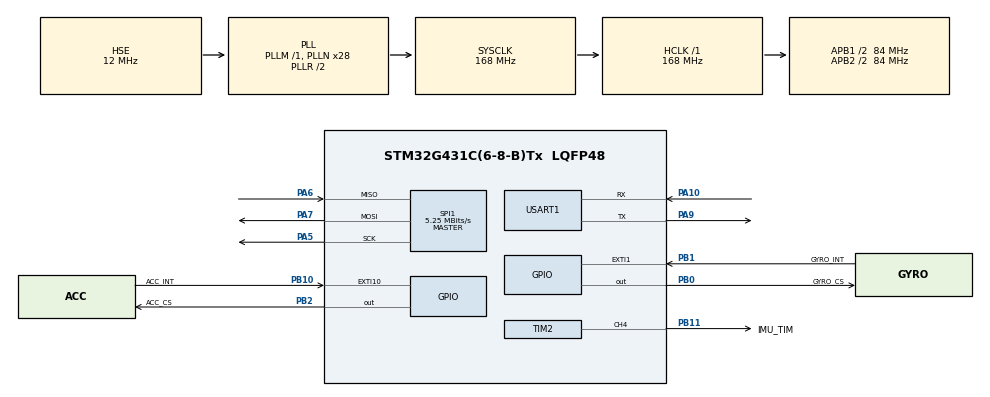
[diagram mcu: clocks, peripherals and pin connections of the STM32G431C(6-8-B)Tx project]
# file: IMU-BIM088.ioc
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Mcu.Family=STM32G4
Mcu.Name=STM32G431C(6-8-B)Tx
Mcu.Package=LQFP48
NVIC.PriorityGroup=NVIC_PRIORITYGROUP_4
NVIC.TIM6_DAC_IRQn=true\:0\:0\:false\:false\:true\:true\:true\:true
PA10.Mode=Asynchronous
PA10.Signal=USART1_RX
PA13.Mode=Serial_Wire
PA13.Signal=SYS_JTMS-SWDIO
PA14.Mode=Serial_Wire
PA14.Signal=SYS_JTCK-SWCLK
PA5.Mode=Full_Duplex_Master
PA5.Signal=SPI1_SCK
PA6.Mode=Full_Duplex_Master
PA6.Signal=SPI1_MISO
PA7.Mode=Full_Duplex_Master
PA7.Signal=SPI1_MOSI
PA9.Mode=Asynchronous
PA9.Signal=USART1_TX
PB0.GPIO_Label=GYRO_CS
PB0.GPIO_Speed=GPIO_SPEED_FREQ_HIGH
PB0.Signal=GPIO_Output
PB1.GPIO_Label=GYRO_INT
PB1.Signal=GPXTI1
PB10.GPIO_Label=ACC_INT
PB10.Signal=GPXTI10
PB11.GPIO_Label=IMU_TIM
PB11.Signal=S_TIM2_CH4
PB15.Signal=SPI2_MOSI
PB2.GPIO_Label=ACC_CS
PB2.GPIO_PuPd=GPIO_PULLUP
PB2.GPIO_Speed=GPIO_SPEED_FREQ_HIGH
PB2.Signal=GPIO_Output
PF0-OSC_IN.Mode=HSE-External-Oscillator
PF0-OSC_IN.Signal=RCC_OSC_IN
PF1-OSC_OUT.Mode=HSE-External-Oscillator
PF1-OSC_OUT.Signal=RCC_OSC_OUT
ProjectManager.HeapSize=0x200
ProjectManager.StackSize=0x400
ProjectManager.TargetToolchain=MDK-ARM V5
RCC.ADC12Freq_Value=168000000
RCC.AHBFreq_Value=168000000
RCC.APB1CLKDivider=RCC_HCLK_DIV2
RCC.APB1Freq_Value=84000000
RCC.APB1TimFreq_Value=168000000
RCC.APB2CLKDivider=RCC_HCLK_DIV2
RCC.APB2Freq_Value=84000000
RCC.APB2TimFreq_Value=168000000
RCC.CortexFreq_Value=168000000
RCC.EXTERNAL_CLOCK_VALUE=12288000
RCC.HCLKFreq_Value=168000000
RCC.HSE_VALUE=12000000
RCC.HSI48_VALUE=48000000
RCC.HSI_VALUE=16000000
RCC.LSE_VALUE=32768
RCC.PLLN=28
RCC.PLLSourceVirtual=RCC_PLLSOURCE_HSE
RCC.SYSCLKFreq_VALUE=168000000
RCC.SYSCLKSource=RCC_SYSCLKSOURCE_PLLCLK
RCC.USBFreq_Value=168000000
RCC.VCOOutputFreq_Value=336000000
SH.S_TIM2_CH4.0=TIM2_CH4,PWM Generation4 CH4
SPI1.BaudRatePrescaler=SPI_BAUDRATEPRESCALER_16
SPI1.CLKPhase=SPI_PHASE_2EDGE
SPI1.CLKPolarity=SPI_POLARITY_HIGH
SPI1.CalculateBaudRate=5.25 MBits/s
SPI1.DataSize=SPI_DATASIZE_8BIT
SPI1.Direction=SPI_DIRECTION_2LINES
SPI1.Mode=SPI_MODE_MASTER
SPI1.VirtualType=VM_MASTER
TIM2.Channel-PWM\ Generation4\ CH4=TIM_CHANNEL_4
TIM2.PeriodNoDither=1000-1
TIM2.Prescaler=168-1
TIM6.PeriodNoDither=1000-1
TIM6.Prescaler=168-1
USART1.VirtualMode-Asynchronous=VM_ASYNC
VP_SYS_VS_DBSignals.Mode=DisableDeadBatterySignals
VP_TIM2_VS_ClockSourceINT.Mode=Internal
VP_TIM6_VS_ClockSourceINT.Mode=Enable_Timer
board=custom

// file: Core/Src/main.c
/* USER CODE BEGIN Header */
/**
  ******************************************************************************
  * @file           : main.c
  * @brief          : Main program body
  ******************************************************************************
  * @attention
  *
  * Copyright (c) 2023 STMicroelectronics.
  * All rights reserved.
  *
  * This software is licensed under terms that can be found in the LICENSE file
  * in the root directory of this software component.
  * If no LICENSE file comes with this software, it is provided AS-IS.
  *
  ******************************************************************************
  */
/* USER CODE END Header */
#include "main.h"
#include "spi.h"
#include "tim.h"
#include "usart.h"
#include "gpio.h"

/* USER CODE BEGIN Includes */
#define Time_Up(time)  (time == 0)
#include <stdio.h>
#include "math.h"
#include "bmi088.h"
#include "bmi088reg.h"
#include "MahonyAHRS.h"
extern uint8_t Task_Time;
extern volatile float q0,q1,q2,q3;					// quaternion of sensor frame relative to auxiliary frame
extern float gx_offset,gy_offset,gz_offset;
/* USER CODE END Includes */

/* USER CODE BEGIN PTD */
#define  kp  0.005f
#define  ki  0.0f
float tem = 26.73f,target = 40.0f,error = 0;
double p_out,i_out = 0;
/* USER CODE END PTD */

void SystemClock_Config(void);

int main(void)
{
  /* USER CODE BEGIN 1 */
	bmi088_data_t bmi088_data;
	Euler_Angle Mahony_angle,KF_angle;
	int i;
	float Acc_angle = 0;
	float q_gyro = 0;
  /* USER CODE END 1 */

  /* MCU Configuration--------------------------------------------------------*/

  /* Reset of all peripherals, Initializes the Flash interface and the Systick. */
  HAL_Init();

  /* Configure the system clock */
  SystemClock_Config();

  /* Initialize all configured peripherals */
  MX_GPIO_Init();
  MX_SPI1_Init();
  MX_TIM2_Init();
  MX_USART1_UART_Init();
  MX_TIM6_Init();
  /* USER CODE BEGIN 2 */
	bmi088_data.bmi088_error = BMI088_INIT();
  /* USER CODE END 2 */

  /* Infinite loop */
  /* USER CODE BEGIN WHILE */

    //0.001848, 0.001401, -0.002787

//	for(i=0;i<30000;i++)
//	{
//		ReadGyroData(&(bmi088_data.gyro_data.gyro_raw_data));
//	    gx_offset += bmi088_data.gyro_data.gyro_raw_data.roll;
//	    gy_offset += bmi088_data.gyro_data.gyro_raw_data.pitch;
//	    gz_offset += bmi088_data.gyro_data.gyro_raw_data.yaw;
//        HAL_Delay(1);
//	}
//	gx_offset = gx_offset / 30000;
//	gy_offset = gy_offset / 30000;
//	gz_offset = gz_offset / 30000;

	while (1)
	{
    /* USER CODE END WHILE */
		if(Task_Time == 0)         		//256us
		{
			Task_Time = 3;
//			HAL_GPIO_TogglePin(GPIOA,GPIO_PIN_10); //示波器测代码运行时间

            //128us
			ReadAccData(&(bmi088_data.acc_data.acc_raw_data));
			ReadGyroData(&(bmi088_data.gyro_data.gyro_raw_data));
			ReadAccTemperature(&(bmi088_data.acc_data.temperature));

//			printf("channels:%.3f\n",bmi088_data.acc_data.temperature);

			//5.1us
			MahonyAHRSupdateIMU(bmi088_data.gyro_data.gyro_raw_data.roll,         //gx
								bmi088_data.gyro_data.gyro_raw_data.pitch,        //gy
								bmi088_data.gyro_data.gyro_raw_data.yaw,          //gz
								bmi088_data.acc_data.acc_raw_data.x,
								bmi088_data.acc_data.acc_raw_data.y,
								bmi088_data.acc_data.acc_raw_data.z);
			//125us
			Mahony_angle.pitch = asin(2.0f*(q0*q2 - q1*q3))*180.0f/PI;
			Mahony_angle.yaw = atan((2.0f*(q0*q3+q1*q2))/(1.0f-2*(q2*q2+q3*q3)))*180.0f/PI;
			Mahony_angle.roll = atan((2.0f*(q0*q1+q2*q3))/(1.0f-2.0f*(q1*q1+q2*q2)))*180.0f/PI;

//			//加了这段代码后定时不准，运行周期从3ms变为3.58ms，但是为什么呢？
			printf("channels:%f, %f, %f\n",Mahony_angle.roll,Mahony_angle.pitch,Mahony_angle.yaw);

//			{
//				Data_Ope_Before_KF(bmi088_data.acc_data.acc_raw_data.x,   			//41us
//								   bmi088_data.acc_data.acc_raw_data.z,
//								   bmi088_data.gyro_data.gyro_raw_data.pitch,
//								   &Acc_angle,&q_gyro);
//				KF_Pitch(Acc_angle,q_gyro,&(KF_angle.pitch));
//				Data_Ope_Before_KF(bmi088_data.acc_data.acc_raw_data.y,
//								   bmi088_data.acc_data.acc_raw_data.z,
//								   bmi088_data.gyro_data.gyro_raw_data.roll,
//								   &Acc_angle,&q_gyro);
//				KF_Roll(Acc_angle,q_gyro,&(KF_angle.roll)); //2.3us
//			}

//			printf("channels:%f, %f, %f, %f\n",Mahony_angle.pitch,KF_angle.pitch,Mahony_angle.roll,-KF_angle.roll);
//			printf("channels:%f, %f\n",Mahony_angle.roll,-KF_angle.roll);

		}

//
//			printf("channels:%f, %f, %f\n",bmi088_data.gyro_data.gyro_raw_data.yaw,
//										   bmi088_data.gyro_data.gyro_raw_data.pitch,
//										   bmi088_data.gyro_data.gyro_raw_data.roll);

//			printf("channels:%f, %f, %f\n",bmi088_data.acc_data.acc_raw_data.x,
//									   bmi088_data.acc_data.acc_raw_data.y,
//								       bmi088_data.acc_data.acc_raw_data.z);

	}
}

void SystemClock_Config(void)
{
  RCC_OscInitTypeDef RCC_OscInitStruct = {0};
  RCC_ClkInitTypeDef RCC_ClkInitStruct = {0};

  /** Configure the main internal regulator output voltage
  */
  HAL_PWREx_ControlVoltageScaling(PWR_REGULATOR_VOLTAGE_SCALE1_BOOST);

  /** Initializes the RCC Oscillators according to the specified parameters
  * in the RCC_OscInitTypeDef structure.
  */
  RCC_OscInitStruct.OscillatorType = RCC_OSCILLATORTYPE_HSE;
  RCC_OscInitStruct.HSEState = RCC_HSE_ON;
  RCC_OscInitStruct.PLL.PLLState = RCC_PLL_ON;
  RCC_OscInitStruct.PLL.PLLSource = RCC_PLLSOURCE_HSE;
  RCC_OscInitStruct.PLL.PLLM = RCC_PLLM_DIV1;
  RCC_OscInitStruct.PLL.PLLN = 28;
  RCC_OscInitStruct.PLL.PLLP = RCC_PLLP_DIV2;
  RCC_OscInitStruct.PLL.PLLQ = RCC_PLLQ_DIV2;
  RCC_OscInitStruct.PLL.PLLR = RCC_PLLR_DIV2;
  if (HAL_RCC_OscConfig(&RCC_OscInitStruct) != HAL_OK)
  {
    Error_Handler();
  }

  /** Initializes the CPU, AHB and APB buses clocks
  */
  RCC_ClkInitStruct.ClockType = RCC_CLOCKTYPE_HCLK|RCC_CLOCKTYPE_SYSCLK
                              |RCC_CLOCKTYPE_PCLK1|RCC_CLOCKTYPE_PCLK2;
  RCC_ClkInitStruct.SYSCLKSource = RCC_SYSCLKSOURCE_PLLCLK;
  RCC_ClkInitStruct.AHBCLKDivider = RCC_SYSCLK_DIV1;
  RCC_ClkInitStruct.APB1CLKDivider = RCC_HCLK_DIV2;
  RCC_ClkInitStruct.APB2CLKDivider = RCC_HCLK_DIV2;

  if (HAL_RCC_ClockConfig(&RCC_ClkInitStruct, FLASH_LATENCY_4) != HAL_OK)
  {
    Error_Handler();
  }
}

void Error_Handler(void)
{
  __disable_irq();
  while (1)
  {
  }
}
